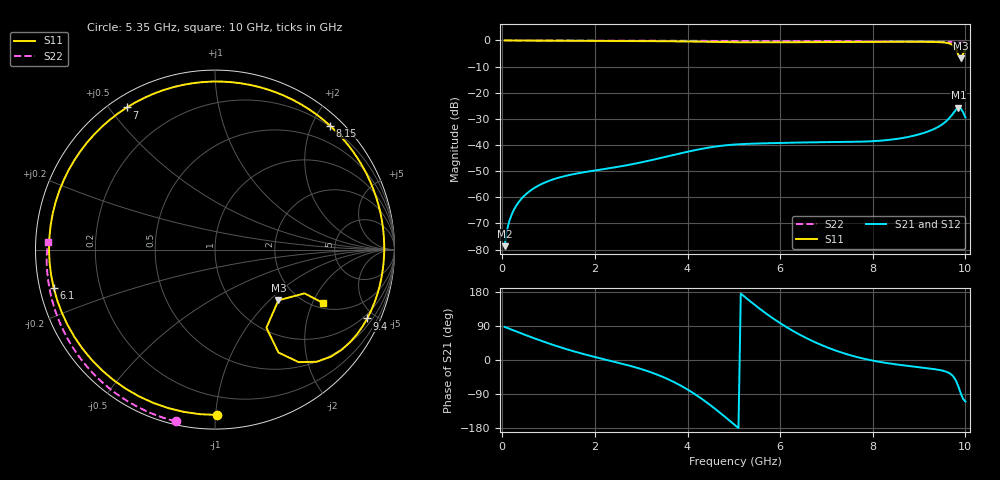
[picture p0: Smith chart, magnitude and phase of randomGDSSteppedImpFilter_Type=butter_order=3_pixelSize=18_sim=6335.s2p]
! freq	dB(S11)	phase(S11)	dB(S12)	phase(S12)
!  dB(S21)	phase(S21)	dB(S22)	phase(S22)
!S-par simulation data
#  GHz  S  DB  R 50
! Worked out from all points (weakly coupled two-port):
!   200 points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, 50 MHz to 10 GHz, reference 50 ohm
!   highest |S21| = -25.69 dB at 9.85 GHz (marker M1); lowest = -78.7 dB at 50 MHz (marker M2)
!   lowest |S11| = -6.9 dB at 9.9 GHz (marker M3), VSWR 2.65, Z = 79.8 - j56.7 ohm
!   |S11| at or under -10 dB: nowhere
!   |S22| runs from -0.6 to 0.0 dB; largest |S21 - S12| = 0
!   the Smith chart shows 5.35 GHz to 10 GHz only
!   S11 on the Smith chart (normalised r, x): 5.35 GHz: 0.08, -1.01; 6.1 GHz: 0.04, -0.12; 7 GHz: 0.05, +0.56; 8.15 GHz: 0.19, +2.28; 9.4 GHz: 0.78, -4.51; 10 GHz: 2.23, -2.39
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0.05  -0.00 -3.9  -78.72 87.3  -78.72 87.3  -0.00 -1.1
0.2  -0.02 -15.3  -66.72 80.2  -66.72 80.2  -0.01 -4.2
0.5  -0.05 -37.8  -59.02 66.0  -59.02 66.0  -0.01 -10.4
1.1  -0.10 -80.9  -53.15 39.7  -53.15 39.7  -0.03 -22.8
1.75  -0.14 -124.4  -50.47 15.8  -50.47 15.8  -0.05 -36.0
2.6  -0.19 -179.0  -48.04 -10.2  -48.04 -10.2  -0.07 -52.7
3.4  -0.28 124.3  -45.06 -41.3  -45.06 -41.3  -0.09 -68.0
3.95  -0.38 76.1  -42.79 -74.3  -42.79 -74.3  -0.11 -78.1
4.45  -0.53 21.8  -41.02 -115.2  -41.02 -115.2  -0.13 -87.1
5.05  -0.68 -52.9  -39.79 -174.6  -39.79 -174.6  -0.15 -97.7
5.35  -0.71 -89.4  -39.52 155.2  -39.52 155.2  -0.16 -102.9
6.1  -0.69 -166.7  -39.18 89.5  -39.18 89.5  -0.20 -115.6
6.7  -0.64 143.9  -38.97 49.9  -38.97 49.9  -0.24 -125.7
7  -0.61 121.8  -38.91 34.1  -38.91 34.1  -0.27 -130.7
7.55  -0.56 84.4  -38.81 11.4  -38.81 11.4  -0.31 -139.8
8.15  -0.52 47.1  -38.38 -5.0  -38.38 -5.0  -0.37 -149.9
8.35  -0.51 35.4  -38.05 -9.0  -38.05 -9.0  -0.39 -153.3
9.4  -0.62 -24.3  -33.20 -25.5  -33.20 -25.5  -0.50 -171.6
9.7  -1.48 -47.8  -28.73 -38.6  -28.73 -38.6  -0.55 -177.1
9.85  -5.66 -56.7  -25.69 -70.4  -25.69 -70.4  -0.59 -179.9
9.9  -6.89 -38.7  -26.02 -88.1  -26.02 -88.1  -0.60 179.2
10  -3.50 -26.3  -29.47 -109.6  -29.47 -109.6  -0.60 177.4
